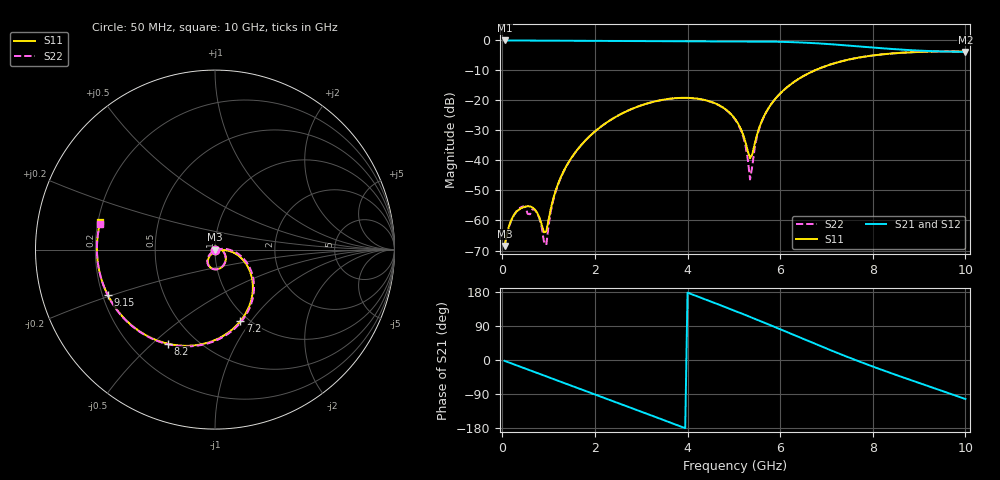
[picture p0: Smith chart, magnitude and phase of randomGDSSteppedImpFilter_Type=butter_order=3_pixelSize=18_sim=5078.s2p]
! freq	dB(S11)	phase(S11)	dB(S12)	phase(S12)
!  dB(S21)	phase(S21)	dB(S22)	phase(S22)
!S-par simulation data
#  GHz  S  DB  R 50
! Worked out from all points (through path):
!   200 points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, 50 MHz to 10 GHz, reference 50 ohm
!   highest |S21| = -0.01 dB at 50 MHz (marker M1); lowest = -3.8 dB at 10 GHz (marker M2)
!   group delay of S21, straight-line fit = 131 ps
!   lowest |S11| = -68.5 dB at 50 MHz (marker M3), VSWR 1.00, Z = 50 - j0.0214 ohm
!   |S11| at or under -10 dB: start of sweep to 6.746 GHz
!   |S22| runs from -68.6 to -3.6 dB; largest |S21 - S12| = 0
!   S11 on the Smith chart (normalised r, x): 50 MHz: 1.00, -0.00; 7.2 GHz: 0.92, -0.89; 8.2 GHz: 0.35, -0.56; 9.15 GHz: 0.22, -0.19; 10 GHz: 0.21, +0.11
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0.05  -68.53 -34.8  -0.01 -2.3  -0.01 -2.3  -68.56 -34.7
0.2  -59.63 -80.3  -0.01 -9.1  -0.01 -9.1  -59.82 -80.2
0.45  -55.63 -106.3  -0.03 -20.4  -0.03 -20.4  -55.31 -96.9
0.75  -57.36 -138.8  -0.04 -33.9  -0.04 -33.9  -57.45 -134.4
0.95  -63.68 120.9  -0.05 -43.0  -0.05 -43.0  -68.15 113.0
1.05  -55.92 71.2  -0.05 -47.5  -0.05 -47.5  -56.76 60.2
1.2  -47.99 50.1  -0.06 -54.3  -0.06 -54.3  -48.22 44.9
1.75  -34.06 16.2  -0.09 -79.2  -0.09 -79.2  -34.08 14.8
2.55  -24.62 -22.8  -0.15 -115.7  -0.15 -115.7  -24.61 -23.8
3.4  -19.97 -62.1  -0.24 -154.6  -0.24 -154.6  -19.98 -63.3
4.4  -19.96 -106.5  -0.31 159.2  -0.31 159.2  -19.99 -108.7
5.05  -26.68 -129.3  -0.33 128.4  -0.33 128.4  -26.87 -136.0
5.25  -33.80 -120.4  -0.33 118.7  -0.33 118.7  -34.92 -136.6
5.35  -39.27 -75.2  -0.34 113.8  -0.34 113.8  -46.34 -84.5
5.5  -31.43 -7.9  -0.35 106.4  -0.35 106.4  -32.04 6.1
5.7  -23.80 -3.7  -0.38 96.4  -0.38 96.4  -23.90 2.7
6.7  -10.32 -46.3  -0.87 45.5  -0.87 45.5  -10.32 -44.5
7.2  -7.47 -70.5  -1.38 20.5  -1.38 20.5  -7.47 -69.1
8.2  -4.65 -116.4  -2.61 -26.2  -2.61 -26.2  -4.64 -115.3
8.35  -4.43 -122.9  -2.78 -32.8  -2.78 -32.8  -4.42 -121.8
9.15  -3.76 -156.9  -3.49 -66.9  -3.49 -66.9  -3.76 -155.9
10  -3.65 166.6  -3.81 -103.0  -3.81 -103.0  -3.65 167.6
